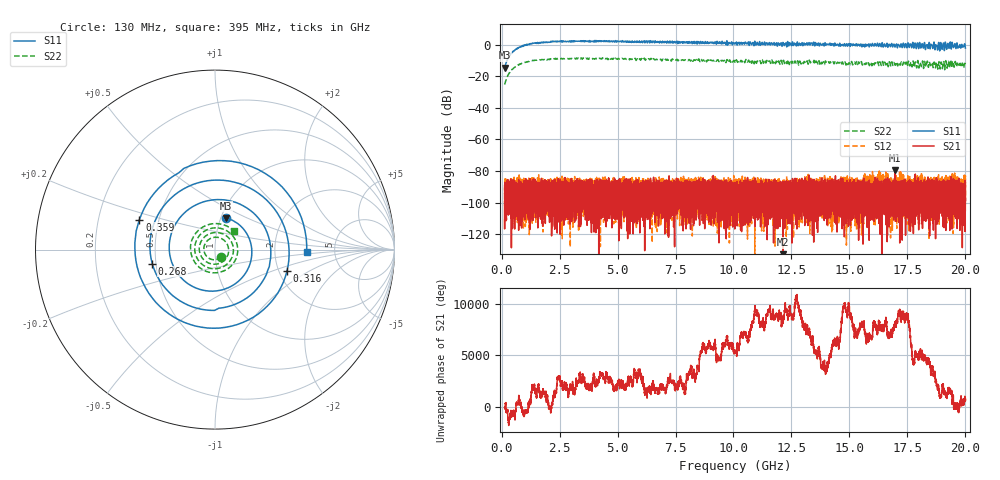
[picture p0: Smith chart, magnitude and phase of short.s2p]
!Created with skrf (http://scikit-rf.org).
# GHz S RI R 50.0
!freq ReS11 ImS11 ReS21 ImS21 ReS12 ImS12 ReS22 ImS22
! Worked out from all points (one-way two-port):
!   20013 points, 130 MHz to 20 GHz, reference 50 ohm
!   highest |S21| = -79.23 dB at 16.97 GHz (marker M1); lowest = -141.1 dB at 12.13 GHz (marker M2)
!   lowest |S11| = -14.6 dB at 130 MHz (marker M3), VSWR 1.46, Z = 52.9 + j19.3 ohm
!   |S11| at or under -10 dB: start of sweep to 232.8 MHz; 233.5388 MHz to 234.2648 MHz (726 kHz wide, 0.31 % of centre)
!   |S22| runs from -25.3 to -8.4 dB; largest |S21 - S12| = 0.00013
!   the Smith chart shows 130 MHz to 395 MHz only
!   S11 on the Smith chart (normalised r, x): 130 MHz: 1.06, +0.39; 268 MHz: 0.48, -0.09; 316 MHz: 2.21, -0.65; 359 MHz: 0.39, +0.16; 395 MHz: 3.09, -0.13
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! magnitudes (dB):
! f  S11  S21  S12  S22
! 130 MHz  -14.6  -90.9  -88.6  -25.3
! 268 MHz  -8.9  -90.2  -98.7  -19.7
! 316 MHz  -7.6  -93.4  -97.4  -18.3
! 359 MHz  -6.9  -95.0  -91.4  -17.6
! 395 MHz  -5.8  -103.4  -89.8  -16.6
! 727 MHz  -2.2  -88.5  -92.8  -12.8
! 1.311 GHz  0.5  -96.0  -98.9  -10.3
! 2.218 GHz  1.8  -93.2  -95.6  -9.1
! 3.442 GHz  2.0  -93.3  -91.9  -8.5
! 6.754 GHz  1.6  -100.8  -90.5  -9.6
! 10.06 GHz  0.7  -91.1  -92.8  -11.5
! 12.13 GHz  1.2  -141.1  -98.4  -11.4
! 12.89 GHz  0.1  -92.9  -90.2  -11.6
! 13.38 GHz  0.9  -92.0  -97.0  -10.7
! 14.94 GHz  0.2  -96.0  -93.1  -12.5
! 16.69 GHz  0.0  -106.7  -96.9  -12.7
! 16.97 GHz  -1.5  -79.2  -93.0  -13.1
! 18.81 GHz  -2.2  -87.3  -89.9  -15.5
! 19.39 GHz  -2.7  -101.9  -92.1  -13.1
! 19.74 GHz  -1.1  -103.9  -85.7  -13.1
! 19.87 GHz  -1.3  -92.7  -87.9  -11.8
! 20 GHz  -2.2  -89.1  -87.8  -12.4
